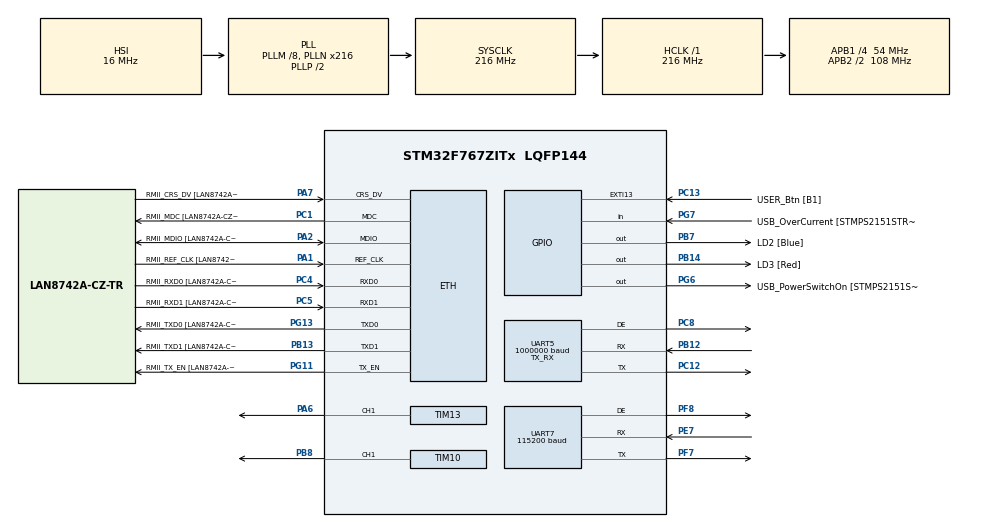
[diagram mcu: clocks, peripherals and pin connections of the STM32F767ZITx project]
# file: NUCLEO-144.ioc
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ETH.AutoNegotiation=ETH_AUTONEGOTIATION_DISABLE
ETH.MediaInterface=ETH_MEDIA_INTERFACE_RMII
ETH.PHY_Name=LAN8742A_PHY_ADDRESS
ETH.PHY_Value=0
ETH.PhyAddress=0
LWIP.CHECKSUM_BY_HARDWARE=1
LWIP.CHECKSUM_CHECK_UDP=0
LWIP.CHECKSUM_GEN_UDP=0
LWIP.IP_ADDRESS=192.168.001.040
LWIP.LWIP_DHCP=0
LWIP.LWIP_TCP=0
LWIP.LWIP_UDP=1
LWIP.NETMASK_ADDRESS=255.255.255.000
LWIP.Version=v2.0.3_Cube
Mcu.Family=STM32F7
Mcu.Name=STM32F767ZITx
Mcu.Package=LQFP144
NVIC.EXTI15_10_IRQn=true\:0\:0\:false\:false\:true\:true
NVIC.PriorityGroup=NVIC_PRIORITYGROUP_4
NVIC.UART5_IRQn=true\:0\:0\:false\:false\:true\:true
NVIC.UART7_IRQn=true\:0\:0\:false\:false\:true\:true
PA1.GPIO_Label=RMII_REF_CLK [LAN8742A-CZ-TR_REFCLK0]
PA1.GPIO_PuPd=GPIO_PULLUP
PA1.Mode=RMII
PA1.Signal=ETH_REF_CLK
PA13.GPIO_Label=TMS
PA13.Mode=Serial_Wire
PA13.Signal=SYS_JTMS-SWDIO
PA14.GPIO_Label=TCK
PA14.Mode=Serial_Wire
PA14.Signal=SYS_JTCK-SWCLK
PA2.GPIO_Label=RMII_MDIO [LAN8742A-CZ-TR_MDIO]
PA2.GPIO_PuPd=GPIO_PULLUP
PA2.Mode=RMII
PA2.Signal=ETH_MDIO
PA6.GPIO_Speed=GPIO_SPEED_FREQ_VERY_HIGH
PA6.Signal=S_TIM13_CH1
PA7.GPIO_Label=RMII_CRS_DV [LAN8742A-CZ-TR_CRS_DV]
PA7.GPIO_PuPd=GPIO_PULLUP
PA7.Mode=RMII
PA7.Signal=ETH_CRS_DV
PB12.Mode=Asynchronous
PB12.Signal=UART5_RX
PB13.GPIO_Label=RMII_TXD1 [LAN8742A-CZ-TR_TXD1]
PB13.Mode=RMII
PB13.Signal=ETH_TXD1
PB14.GPIO_Label=LD3 [Red]
PB14.Signal=GPIO_Output
PB3.GPIO_Label=SWO
PB3.Signal=SYS_JTDO-SWO
PB7.GPIO_Label=LD2 [Blue]
PB7.Signal=GPIO_Output
PB8.GPIO_Speed=GPIO_SPEED_FREQ_VERY_HIGH
PB8.Signal=S_TIM10_CH1
PC1.GPIO_Label=RMII_MDC [LAN8742A-CZ-TR_MDC]
PC1.Mode=RMII
PC1.Signal=ETH_MDC
PC12.Mode=Asynchronous
PC12.Signal=UART5_TX
PC13.GPIO_Label=USER_Btn [B1]
PC13.Signal=GPXTI13
PC14/OSC32_IN.Mode=LSE-External-Oscillator
PC14/OSC32_IN.Signal=RCC_OSC32_IN
PC15/OSC32_OUT.Mode=LSE-External-Oscillator
PC15/OSC32_OUT.Signal=RCC_OSC32_OUT
PC4.GPIO_Label=RMII_RXD0 [LAN8742A-CZ-TR_RXD0]
PC4.Mode=RMII
PC4.Signal=ETH_RXD0
PC5.GPIO_Label=RMII_RXD1 [LAN8742A-CZ-TR_RXD1]
PC5.Mode=RMII
PC5.Signal=ETH_RXD1
PC8.Mode=Hardware Flow Control (RS485)
PC8.Signal=UART5_DE
PE7.Mode=Asynchronous
PE7.Signal=UART7_RX
PF7.Mode=Asynchronous
PF7.Signal=UART7_TX
PF8.Mode=Hardware Flow Control (RS485)
PF8.Signal=UART7_DE
PG11.GPIO_Label=RMII_TX_EN [LAN8742A-CZ-TR_TXEN]
PG11.GPIO_PuPd=GPIO_PULLUP
PG11.Mode=RMII
PG11.Signal=ETH_TX_EN
PG13.GPIO_Label=RMII_TXD0 [LAN8742A-CZ-TR_TXD0]
PG13.GPIO_PuPd=GPIO_PULLUP
PG13.Mode=RMII
PG13.Signal=ETH_TXD0
PG6.GPIO_Label=USB_PowerSwitchOn [STMPS2151STR_EN]
PG6.Signal=GPIO_Output
PG7.GPIO_Label=USB_OverCurrent [STMPS2151STR_FAULT]
PG7.Signal=GPIO_Input
PH0/OSC_IN.GPIO_Label=MCO [STM32F103CBT6_PA8]
PH0/OSC_IN.Mode=HSE-External-Clock-Source
PH0/OSC_IN.Signal=RCC_OSC_IN
PH1/OSC_OUT.Mode=HSE-External-Clock-Source
PH1/OSC_OUT.Signal=RCC_OSC_OUT
ProjectManager.HeapSize=0x200
ProjectManager.StackSize=0x400
ProjectManager.TargetToolchain=SW4STM32
RCC.48MHZClocksFreq_Value=24000000
RCC.AHBFreq_Value=216000000
RCC.APB1CLKDivider=RCC_HCLK_DIV4
RCC.APB1Freq_Value=54000000
RCC.APB1TimFreq_Value=108000000
RCC.APB2CLKDivider=RCC_HCLK_DIV2
RCC.APB2Freq_Value=108000000
RCC.APB2TimFreq_Value=216000000
RCC.CortexFreq_Value=216000000
RCC.HCLKFreq_Value=216000000
RCC.HSE_VALUE=16000000
RCC.HSI_VALUE=16000000
RCC.PLLM=8
RCC.PLLMUL=RCC_PLL_MUL9
RCC.PLLN=216
RCC.PLLQ=9
RCC.PRESCALERUSB=RCC_USBCLKSOURCE_PLL_DIV1_5
RCC.SYSCLKFreq_VALUE=216000000
RCC.SYSCLKSource=RCC_SYSCLKSOURCE_PLLCLK
RCC.SYSCLKSourceVirtual=RCC_SYSCLKSOURCE_PLLCLK
RCC.USBFreq_Value=48000000
RCC.VCOOutputFreq_Value=432000000
SH.S_TIM10_CH1.0=TIM10_CH1,PWM Generation1 CH1
SH.S_TIM13_CH1.0=TIM13_CH1,PWM Generation1 CH1
TIM10.Channel=TIM_CHANNEL_1
TIM10.Period=2000-1
TIM10.Prescaler=2160-1
TIM13.Channel=TIM_CHANNEL_1
TIM13.Period=2000-1
TIM13.Prescaler=1080-1
UART5.BaudRate=1000000
UART5.DMADisableonRxErrorParam=UART_ADVFEATURE_DMA_DISABLEONRXERROR
UART5.Mode=MODE_TX_RX
UART5.OverrunDisableParam=UART_ADVFEATURE_OVERRUN_DISABLE
UART7.BaudRate=115200
UART7.DMADisableonRxErrorParam=UART_ADVFEATURE_DMA_DISABLEONRXERROR
UART7.OverrunDisableParam=UART_ADVFEATURE_OVERRUN_DISABLE
VP_LWIP_VS_Enabled.Mode=Enabled
VP_TIM10_VS_ClockSourceINT.Mode=Enable_Timer
VP_TIM13_VS_ClockSourceINT.Mode=Enable_Timer
board=NUCLEO-F767ZI

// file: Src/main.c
/**
  ******************************************************************************
  * @file           : main.c
  * @brief          : Main program body
  ******************************************************************************
  * This notice applies to any and all portions of this file
  * that are not between comment pairs USER CODE BEGIN and
  * USER CODE END. Other portions of this file, whether
  * inserted by the user or by software development tools
  * are owned by their respective copyright owners.
  *
  * Copyright (c) 2019 STMicroelectronics International N.V.
  * All rights reserved.
  *
  * Redistribution and use in source and binary forms, with or without
  * modification, are permitted, provided that the following conditions are met:
  *
  * 1. Redistribution of source code must retain the above copyright notice,
  *    this list of conditions and the following disclaimer.
  * 2. Redistributions in binary form must reproduce the above copyright notice,
  *    this list of conditions and the following disclaimer in the documentation
  *    and/or other materials provided with the distribution.
  * 3. Neither the name of STMicroelectronics nor the names of other
  *    contributors to this software may be used to endorse or promote products
  *    derived from this software without specific written permission.
  * 4. This software, including modifications and/or derivative works of this
  *    software, must execute solely and exclusively on microcontroller or
  *    microprocessor devices manufactured by or for STMicroelectronics.
  * 5. Redistribution and use of this software other than as permitted under
  *    this license is void and will automatically terminate your rights under
  *    this license.
  *
  * THIS SOFTWARE IS PROVIDED BY STMICROELECTRONICS AND CONTRIBUTORS "AS IS"
  * AND ANY EXPRESS, IMPLIED OR STATUTORY WARRANTIES, INCLUDING, BUT NOT
  * LIMITED TO, THE IMPLIED WARRANTIES OF MERCHANTABILITY, FITNESS FOR A
  * PARTICULAR PURPOSE AND NON-INFRINGEMENT OF THIRD PARTY INTELLECTUAL PROPERTY
  * RIGHTS ARE DISCLAIMED TO THE FULLEST EXTENT PERMITTED BY LAW. IN NO EVENT
  * SHALL STMICROELECTRONICS OR CONTRIBUTORS BE LIABLE FOR ANY DIRECT, INDIRECT,
  * INCIDENTAL, SPECIAL, EXEMPLARY, OR CONSEQUENTIAL DAMAGES (INCLUDING, BUT NOT
  * LIMITED TO, PROCUREMENT OF SUBSTITUTE GOODS OR SERVICES; LOSS OF USE, DATA,
  * OR PROFITS; OR BUSINESS INTERRUPTION) HOWEVER CAUSED AND ON ANY THEORY OF
  * LIABILITY, WHETHER IN CONTRACT, STRICT LIABILITY, OR TORT (INCLUDING
  * NEGLIGENCE OR OTHERWISE) ARISING IN ANY WAY OUT OF THE USE OF THIS SOFTWARE,
  * EVEN IF ADVISED OF THE POSSIBILITY OF SUCH DAMAGE.
  *
  ******************************************************************************
  */
#include "main.h"
#include "stm32f7xx_hal.h"
#include "lwip.h"

/* USER CODE BEGIN Includes */

#include <stdbool.h>
#include <math.h>

#include "dwt_stm32_delay.h"
#include "udp_client.h"
#include "gl_svg.h"
#include "dynamixel_protocol_v2.h"

/* USER CODE END Includes */

TIM_HandleTypeDef htim10;
TIM_HandleTypeDef htim13;

UART_HandleTypeDef huart5;
UART_HandleTypeDef huart7;

/* USER CODE BEGIN PV */

#define TORQUE_CONTROL 0

extern uint32_t dynamixel_comm_err_count1;
extern uint32_t dynamixel_comm_err_count2;
volatile uint8_t system_task = 0;

/* Private variables ---------------------------------------------------------*/

/* USER CODE END PV */

void SystemClock_Config(void);
static void MX_GPIO_Init(void);
static void MX_UART7_Init(void);
static void MX_UART5_Init(void);
static void MX_TIM13_Init(void);
static void MX_TIM10_Init(void);

void HAL_TIM_MspPostInit(TIM_HandleTypeDef *htim);

/* USER CODE BEGIN PFP */
/* Private function prototypes -----------------------------------------------*/

/* USER CODE END PFP */

/* USER CODE BEGIN 0 */
void user_pwm_setvalue(uint16_t value) {
  TIM_OC_InitTypeDef sConfigOC;
  sConfigOC.OCMode = TIM_OCMODE_PWM1;
  sConfigOC.Pulse = value;
  sConfigOC.OCPolarity = TIM_OCPOLARITY_HIGH;
  sConfigOC.OCFastMode = TIM_OCFAST_DISABLE;
  HAL_TIM_PWM_ConfigChannel(&htim13, &sConfigOC, TIM_CHANNEL_1);
  HAL_TIM_PWM_Start(&htim13, TIM_CHANNEL_1);
}

/* USER CODE END 0 */

int main(void)
{

  /* MCU Configuration----------------------------------------------------------*/

  /* Reset of all peripherals, Initializes the Flash interface and the Systick. */
  HAL_Init();

  /* Configure the system clock */
  SystemClock_Config();

  /* USER CODE BEGIN SysInit */

  if (DWT_Delay_Init() != HAL_OK)
    _Error_Handler(__FILE__, __LINE__);

  /* USER CODE END SysInit */

  /* Initialize all configured peripherals */
  MX_GPIO_Init();
  MX_LWIP_Init();
  MX_UART7_Init();
  MX_UART5_Init();
  MX_TIM13_Init();
  MX_TIM10_Init();
  /* USER CODE BEGIN 2 */

  HAL_TIM_PWM_Start(&htim13, TIM_CHANNEL_1);
  HAL_TIM_PWM_Start(&htim10, TIM_CHANNEL_1);

  uint16_t pwm_value1 = 0, pwm_value2 = 0;
  user_pwm_setvalue(pwm_value1);
  user_pwm_setvalue(pwm_value2);

  udp_client_connect();
  GLVG_init(&huart7);

  const uint8_t dynamixel1_id = 1;
  const uint8_t dynamixel2_id = 2;
  dynamixel_bind_uart(&huart5, 1000000L);

  /* USER CODE END 2 */

  /* Infinite loop */
  /* USER CODE BEGIN WHILE */

  float current1 = 0, velocity1 = 0, position1 = 0, start_position1 = 0;
  float current2 = 0, velocity2 = 0, position2 = 0, start_position2 = 0;

  float qa_prev = 0, qa_goal = 0;

  float angle_filtered = 0;
  int16_t pwm = 0;

  uint32_t time_start = DWT_us();
  uint32_t time_prev = DWT_us();

#if TORQUE_CONTROL
  float goal_current1 = 0.f;
  float goal_current2 = 0.f;
#else
  float goal_velocity1 = 0.f;
  float goal_velocity2 = 0.f;
#endif
  uint8_t read_send = 0;
  uint8_t need_to_rewind = 1;

/*
  __HAL_TIM_SET_COMPARE(&htim13, TIM_CHANNEL_1, 255);
  HAL_Delay(10000);
  __HAL_TIM_SET_COMPARE(&htim13, TIM_CHANNEL_1, 64);
  HAL_Delay(30000);
*/

  while (1) {

	  /*
	  if (time_prev-time_start>1L*1000L*1000L) {
		   system_task = 9;
	  }
	  */

	  MX_LWIP_Process();
	  uint32_t time = DWT_us();
	  if (time-time_prev>5000L) {
		  time_prev = time;
		  read_send = 1-read_send;

		  if (0==system_task) {
			  angle_filtered = -.73;

			  pwm_value1 = pwm_value2 = 0;
			  __HAL_TIM_SET_COMPARE(&htim10, TIM_CHANNEL_1, pwm_value1);
			  __HAL_TIM_SET_COMPARE(&htim13, TIM_CHANNEL_1, pwm_value2);
			  need_to_rewind = 1;

			  HAL_Delay(50);
			  dynamixel_torque_on_off(dynamixel1_id, 0);
			  HAL_Delay(50);
			  dynamixel_torque_on_off(dynamixel2_id, 0);
			  HAL_Delay(50);
#if TORQUE_CONTROL
			  dynamixel_set_operating_mode(dynamixel1_id, 0);
			  HAL_Delay(50);
			  dynamixel_set_operating_mode(dynamixel2_id, 0);
#else
			  dynamixel_set_operating_mode(dynamixel1_id, 1);
			  HAL_Delay(50);
			  dynamixel_set_operating_mode(dynamixel2_id, 1);
#endif
			  HAL_Delay(50);
			  dynamixel_torque_on_off(dynamixel1_id, 1);
			  HAL_Delay(50);
			  dynamixel_torque_on_off(dynamixel2_id, 1);
			  HAL_Delay(50);

			  while (!dynamixel_read_current_velocity_position(dynamixel1_id, &pwm, &current1, &velocity1, &start_position1));
			  position1 = start_position1;
			  HAL_Delay(50);
			  while (!dynamixel_read_current_velocity_position(dynamixel2_id, &pwm, &current2, &velocity2, &start_position2));
			  position2 = start_position2;

			  for (uint8_t i=0; i<115; i++) {
				  pwm_value1 = i;
				  if (i<113)
					  pwm_value2 = i;

				  __HAL_TIM_SET_COMPARE(&htim10, TIM_CHANNEL_1, pwm_value1);
				  __HAL_TIM_SET_COMPARE(&htim13, TIM_CHANNEL_1, pwm_value2);
				  HAL_Delay(10);
			  }

			  qa_prev = qa_goal = -GLVG_getYaw()*M_PI/180.;

			  time_start = DWT_us();
			  system_task = 1;

			  continue;
		  }

		  if (read_send && 9==system_task) {
			  if (need_to_rewind) {
				  dynamixel_torque_on_off(dynamixel1_id, 0);
				  HAL_Delay(50);
				  dynamixel_torque_on_off(dynamixel2_id, 0);
				  HAL_Delay(50);
				  dynamixel_set_operating_mode(dynamixel1_id, 3);
				  HAL_Delay(50);
				  dynamixel_set_operating_mode(dynamixel2_id, 3);
				  HAL_Delay(50);
				  dynamixel_set_profile_velocity(dynamixel1_id, 32);
				  HAL_Delay(50);
				  dynamixel_set_profile_velocity(dynamixel2_id, 32);
				  HAL_Delay(50);
				  dynamixel_torque_on_off(dynamixel1_id, 1);
				  HAL_Delay(50);
				  dynamixel_torque_on_off(dynamixel2_id, 1);
				  HAL_Delay(50);
				  dynamixel_set_position(dynamixel1_id, start_position1);
				  HAL_Delay(50);
				  dynamixel_set_position(dynamixel2_id, start_position2);
				  HAL_Delay(5000);
				  need_to_rewind = 0;
			  }
			  dynamixel_torque_on_off(dynamixel1_id, 0);
			  HAL_Delay(50);
			  dynamixel_torque_on_off(dynamixel2_id, 0);
		  }

		  if (read_send && 1==system_task) {
#if TORQUE_CONTROL
			  dynamixel_set_current(dynamixel1_id, -goal_current1); // note that the dynamixel basis is inversed w.r.t the paper
			  dynamixel_set_current(dynamixel2_id, -goal_current2); // note that the dynamixel basis is inversed w.r.t the paper
#else
			  dynamixel_set_velocity(dynamixel1_id, -goal_velocity1); // note that the dynamixel basis is inversed w.r.t the paper
			  dynamixel_set_velocity(dynamixel2_id, -goal_velocity2); // note that the dynamixel basis is inversed w.r.t the paper
#endif
		  }

		  if (!read_send) {
			  bool res1 = dynamixel_read_current_velocity_position(dynamixel1_id, &pwm, &current1, &velocity1, &position1);
			  if (!res1) {
				  dynamixel_comm_err_count1++;
			  } else {
				  current1 = -current1; // inversed basis
				  velocity1 = -velocity1;
			  }
			  bool res2 = dynamixel_read_current_velocity_position(dynamixel2_id, &pwm, &current2, &velocity2, &position2);
			  if (!res2) {
				  dynamixel_comm_err_count2++;
			  } else {
				  current2 = -current2; // inversed basis
				  velocity2 = -velocity2;
			  }

			  float qa = -GLVG_getYaw()*M_PI/180.;
			  if (qa>qa_prev+5.) qa -= 2.*M_PI;
			  if (qa<qa_prev-5.) qa += 2.*M_PI;
			  qa_prev = qa;

			  float wa = -GLVG_getGy()*M_PI/180.;

			  float qb = (90 - GLVG_getRoll())*M_PI/180.;
			  float wb = -GLVG_getGx()*M_PI/180.;
			  float qc1 = M_PI/2. - (position1-start_position1);
			  float wc1 = velocity1;
			  float qc2 = M_PI/2. - (position2-start_position2);
			  float wc2 = velocity2;

		      if (fabs(qb+M_PI/4.)<.2) {
		    	  angle_filtered = .996*angle_filtered + .004*qb;
		      }

			  if (1==system_task && ( fabs(qc1-M_PI/2.)>1.5*3.14/4. || fabs(qc2-M_PI/2.)>1.5*3.14/4. )) system_task = 9;

#if TORQUE_CONTROL
			  float K1[] = {-1.43910573e-01,-4.77325439e-02,5.55964166e+00,7.24108243e-01,-1.46748079e-03,2.38036156e-01,7.05639301e-01,-1.16024017e-02};
			  float K2[] = {-1.43910170e-01,-4.67773438e-02,-5.55964166e+00,-7.24108243e-01,7.05639309e-01,-1.15814209e-02,-1.46747157e-03,2.38064575e-01};

		      float tau1 = -(K1[0]*(qa-qa_goal) + K1[1]*wa + K1[2]*(qb + .73 /* M_PI/4. */) + K1[3]*wb + K1[4]*(qc1 - M_PI/2.) + K1[5]*wc1 + K1[6]*(qc2 - M_PI/2.) + K1[7]*wc2);
		      float tau2 = -(K2[0]*(qa-qa_goal) + K2[1]*wa + K2[2]*(qb + .73 /* M_PI/4. */) + K2[3]*wb + K2[4]*(qc1 - M_PI/2.) + K2[5]*wc1 + K2[6]*(qc2 - M_PI/2.) + K2[7]*wc2);

			  float k1 = 1.62;
			  float k2 = 1.46;
		      goal_current1 = tau1 / k1;
		      goal_current2 = tau2 / k2;

		      if (goal_current1 >  4) goal_current1 =  4;
		      if (goal_current1 < -4) goal_current1 = -4;
		      if (goal_current2 >  4) goal_current2 =  4;
		      if (goal_current2 < -4) goal_current2 = -4;

		      if (fabs(qb+M_PI/4.)>.2) {
		    	  goal_current1 = 0;
		    	  goal_current2 = 0;
		      }
			  char msg[255] = {0};
			  sprintf(msg,"%3.6f, %3.6f, %3.6f, %3.6f, %3.6f, %3.6f, %3.6f, %3.6f, %3.6f, %3.6f, %3.6f,                %d, %lu", (float)(time-time_start)*1e-6, goal_current1, goal_current2, qa-qa_goal, wa, qb, wb, qc1, wc1, qc2, wc2, system_task, dynamixel_comm_err_count1);
#else
			  float K1[] = { 16.175,  2.418, 0., 1.};
			  float K2[] = {-16.175, -2.418, 1., 0.};
		      goal_velocity1 = -(K1[0]*(qb - angle_filtered) + K1[1]*wb + K1[2]*(qc1 - M_PI/2.)+ K1[3]*(qc2 - M_PI/2.));
		      goal_velocity2 = -(K2[0]*(qb - angle_filtered) + K2[1]*wb + K2[2]*(qc1 - M_PI/2.)+ K2[3]*(qc2 - M_PI/2.));

		      if (goal_velocity1 >  4) goal_velocity1 =  4;
		      if (goal_velocity1 < -4) goal_velocity1 = -4;
		      if (goal_velocity2 >  4) goal_velocity2 =  4;
		      if (goal_velocity2 < -4) goal_velocity2 = -4;

		      if (fabs(qb+M_PI/4.)>.2) {
		    	  goal_velocity2 = goal_velocity1 = 0;
		      }

			  char msg[255] = {0};
			  sprintf(msg,"%3.6f,\t %3.6f,\t %3.6f,\t %3.6f,\t %3.6f,\t %3.6f,\t %3.6f, %lu, %lu", (float)(time-time_start)*1e-6, qb, wb, qc1, wc1, qc2, wc2, dynamixel_comm_err_count1, dynamixel_comm_err_count2);
#endif
			  udp_client_send(msg);
		  }
	  }
  }
  /* USER CODE END WHILE */

}

void SystemClock_Config(void)
{

  RCC_OscInitTypeDef RCC_OscInitStruct;
  RCC_ClkInitTypeDef RCC_ClkInitStruct;
  RCC_PeriphCLKInitTypeDef PeriphClkInitStruct;

    /**Configure the main internal regulator output voltage
    */
  __HAL_RCC_PWR_CLK_ENABLE();

  __HAL_PWR_VOLTAGESCALING_CONFIG(PWR_REGULATOR_VOLTAGE_SCALE1);

    /**Initializes the CPU, AHB and APB busses clocks
    */
  RCC_OscInitStruct.OscillatorType = RCC_OSCILLATORTYPE_HSI;
  RCC_OscInitStruct.HSIState = RCC_HSI_ON;
  RCC_OscInitStruct.HSICalibrationValue = 16;
  RCC_OscInitStruct.PLL.PLLState = RCC_PLL_ON;
  RCC_OscInitStruct.PLL.PLLSource = RCC_PLLSOURCE_HSI;
  RCC_OscInitStruct.PLL.PLLM = 8;
  RCC_OscInitStruct.PLL.PLLN = 216;
  RCC_OscInitStruct.PLL.PLLP = RCC_PLLP_DIV2;
  RCC_OscInitStruct.PLL.PLLQ = 9;
  if (HAL_RCC_OscConfig(&RCC_OscInitStruct) != HAL_OK)
  {
    _Error_Handler(__FILE__, __LINE__);
  }

    /**Activate the Over-Drive mode
    */
  if (HAL_PWREx_EnableOverDrive() != HAL_OK)
  {
    _Error_Handler(__FILE__, __LINE__);
  }

    /**Initializes the CPU, AHB and APB busses clocks
    */
  RCC_ClkInitStruct.ClockType = RCC_CLOCKTYPE_HCLK|RCC_CLOCKTYPE_SYSCLK
                              |RCC_CLOCKTYPE_PCLK1|RCC_CLOCKTYPE_PCLK2;
  RCC_ClkInitStruct.SYSCLKSource = RCC_SYSCLKSOURCE_PLLCLK;
  RCC_ClkInitStruct.AHBCLKDivider = RCC_SYSCLK_DIV1;
  RCC_ClkInitStruct.APB1CLKDivider = RCC_HCLK_DIV4;
  RCC_ClkInitStruct.APB2CLKDivider = RCC_HCLK_DIV2;

  if (HAL_RCC_ClockConfig(&RCC_ClkInitStruct, FLASH_LATENCY_7) != HAL_OK)
  {
    _Error_Handler(__FILE__, __LINE__);
  }

  PeriphClkInitStruct.PeriphClockSelection = RCC_PERIPHCLK_UART5|RCC_PERIPHCLK_UART7;
  PeriphClkInitStruct.Uart5ClockSelection = RCC_UART5CLKSOURCE_PCLK1;
  PeriphClkInitStruct.Uart7ClockSelection = RCC_UART7CLKSOURCE_PCLK1;
  if (HAL_RCCEx_PeriphCLKConfig(&PeriphClkInitStruct) != HAL_OK)
  {
    _Error_Handler(__FILE__, __LINE__);
  }

    /**Configure the Systick interrupt time
    */
  HAL_SYSTICK_Config(HAL_RCC_GetHCLKFreq()/1000);

    /**Configure the Systick
    */
  HAL_SYSTICK_CLKSourceConfig(SYSTICK_CLKSOURCE_HCLK);

  /* SysTick_IRQn interrupt configuration */
  HAL_NVIC_SetPriority(SysTick_IRQn, 0, 0);
}

/* TIM10 init function */
static void MX_TIM10_Init(void)
{

  TIM_OC_InitTypeDef sConfigOC;

  htim10.Instance = TIM10;
  htim10.Init.Prescaler = 2160-1;
  htim10.Init.CounterMode = TIM_COUNTERMODE_UP;
  htim10.Init.Period = 2000-1;
  htim10.Init.ClockDivision = TIM_CLOCKDIVISION_DIV1;
  htim10.Init.AutoReloadPreload = TIM_AUTORELOAD_PRELOAD_DISABLE;
  if (HAL_TIM_Base_Init(&htim10) != HAL_OK)
  {
    _Error_Handler(__FILE__, __LINE__);
  }

  if (HAL_TIM_PWM_Init(&htim10) != HAL_OK)
  {
    _Error_Handler(__FILE__, __LINE__);
  }

  sConfigOC.OCMode = TIM_OCMODE_PWM1;
  sConfigOC.Pulse = 0;
  sConfigOC.OCPolarity = TIM_OCPOLARITY_HIGH;
  sConfigOC.OCFastMode = TIM_OCFAST_DISABLE;
  if (HAL_TIM_PWM_ConfigChannel(&htim10, &sConfigOC, TIM_CHANNEL_1) != HAL_OK)
  {
    _Error_Handler(__FILE__, __LINE__);
  }

  HAL_TIM_MspPostInit(&htim10);

}

/* TIM13 init function */
static void MX_TIM13_Init(void)
{

  TIM_OC_InitTypeDef sConfigOC;

  htim13.Instance = TIM13;
  htim13.Init.Prescaler = 1080-1;
  htim13.Init.CounterMode = TIM_COUNTERMODE_UP;
  htim13.Init.Period = 2000-1;
  htim13.Init.ClockDivision = TIM_CLOCKDIVISION_DIV1;
  htim13.Init.AutoReloadPreload = TIM_AUTORELOAD_PRELOAD_DISABLE;
  if (HAL_TIM_Base_Init(&htim13) != HAL_OK)
  {
    _Error_Handler(__FILE__, __LINE__);
  }

  if (HAL_TIM_PWM_Init(&htim13) != HAL_OK)
  {
    _Error_Handler(__FILE__, __LINE__);
  }

  sConfigOC.OCMode = TIM_OCMODE_PWM1;
  sConfigOC.Pulse = 0;
  sConfigOC.OCPolarity = TIM_OCPOLARITY_HIGH;
  sConfigOC.OCFastMode = TIM_OCFAST_DISABLE;
  if (HAL_TIM_PWM_ConfigChannel(&htim13, &sConfigOC, TIM_CHANNEL_1) != HAL_OK)
  {
    _Error_Handler(__FILE__, __LINE__);
  }

  HAL_TIM_MspPostInit(&htim13);

}

/* UART5 init function */
static void MX_UART5_Init(void)
{

  huart5.Instance = UART5;
  huart5.Init.BaudRate = 1000000;
  huart5.Init.WordLength = UART_WORDLENGTH_8B;
  huart5.Init.StopBits = UART_STOPBITS_1;
  huart5.Init.Parity = UART_PARITY_NONE;
  huart5.Init.Mode = UART_MODE_TX_RX;
  huart5.Init.HwFlowCtl = UART_HWCONTROL_NONE;
  huart5.Init.OverSampling = UART_OVERSAMPLING_16;
  huart5.Init.OneBitSampling = UART_ONE_BIT_SAMPLE_DISABLE;
  huart5.AdvancedInit.AdvFeatureInit = UART_ADVFEATURE_RXOVERRUNDISABLE_INIT|UART_ADVFEATURE_DMADISABLEONERROR_INIT;
  huart5.AdvancedInit.OverrunDisable = UART_ADVFEATURE_OVERRUN_DISABLE;
  huart5.AdvancedInit.DMADisableonRxError = UART_ADVFEATURE_DMA_DISABLEONRXERROR;
  if (HAL_RS485Ex_Init(&huart5, UART_DE_POLARITY_HIGH, 0, 0) != HAL_OK)
  {
    _Error_Handler(__FILE__, __LINE__);
  }

}

/* UART7 init function */
static void MX_UART7_Init(void)
{

  huart7.Instance = UART7;
  huart7.Init.BaudRate = 115200;
  huart7.Init.WordLength = UART_WORDLENGTH_8B;
  huart7.Init.StopBits = UART_STOPBITS_1;
  huart7.Init.Parity = UART_PARITY_NONE;
  huart7.Init.Mode = UART_MODE_TX_RX;
  huart7.Init.HwFlowCtl = UART_HWCONTROL_NONE;
  huart7.Init.OverSampling = UART_OVERSAMPLING_16;
  huart7.Init.OneBitSampling = UART_ONE_BIT_SAMPLE_DISABLE;
  huart7.AdvancedInit.AdvFeatureInit = UART_ADVFEATURE_RXOVERRUNDISABLE_INIT|UART_ADVFEATURE_DMADISABLEONERROR_INIT;
  huart7.AdvancedInit.OverrunDisable = UART_ADVFEATURE_OVERRUN_DISABLE;
  huart7.AdvancedInit.DMADisableonRxError = UART_ADVFEATURE_DMA_DISABLEONRXERROR;
  if (HAL_RS485Ex_Init(&huart7, UART_DE_POLARITY_HIGH, 0, 0) != HAL_OK)
  {
    _Error_Handler(__FILE__, __LINE__);
  }

}

/** Configure pins as
        * Analog
        * Input
        * Output
        * EVENT_OUT
        * EXTI
*/
static void MX_GPIO_Init(void)
{

  GPIO_InitTypeDef GPIO_InitStruct;

  /* GPIO Ports Clock Enable */
  __HAL_RCC_GPIOC_CLK_ENABLE();
  __HAL_RCC_GPIOF_CLK_ENABLE();
  __HAL_RCC_GPIOH_CLK_ENABLE();
  __HAL_RCC_GPIOA_CLK_ENABLE();
  __HAL_RCC_GPIOE_CLK_ENABLE();
  __HAL_RCC_GPIOB_CLK_ENABLE();
  __HAL_RCC_GPIOG_CLK_ENABLE();

  /*Configure GPIO pin Output Level */
  HAL_GPIO_WritePin(GPIOB, LD3_Pin|LD2_Pin, GPIO_PIN_RESET);

  /*Configure GPIO pin Output Level */
  HAL_GPIO_WritePin(USB_PowerSwitchOn_GPIO_Port, USB_PowerSwitchOn_Pin, GPIO_PIN_RESET);

  /*Configure GPIO pin : USER_Btn_Pin */
  GPIO_InitStruct.Pin = USER_Btn_Pin;
  GPIO_InitStruct.Mode = GPIO_MODE_IT_RISING;
  GPIO_InitStruct.Pull = GPIO_NOPULL;
  HAL_GPIO_Init(USER_Btn_GPIO_Port, &GPIO_InitStruct);

  /*Configure GPIO pins : LD3_Pin LD2_Pin */
  GPIO_InitStruct.Pin = LD3_Pin|LD2_Pin;
  GPIO_InitStruct.Mode = GPIO_MODE_OUTPUT_PP;
  GPIO_InitStruct.Pull = GPIO_NOPULL;
  GPIO_InitStruct.Speed = GPIO_SPEED_FREQ_LOW;
  HAL_GPIO_Init(GPIOB, &GPIO_InitStruct);

  /*Configure GPIO pin : USB_PowerSwitchOn_Pin */
  GPIO_InitStruct.Pin = USB_PowerSwitchOn_Pin;
  GPIO_InitStruct.Mode = GPIO_MODE_OUTPUT_PP;
  GPIO_InitStruct.Pull = GPIO_NOPULL;
  GPIO_InitStruct.Speed = GPIO_SPEED_FREQ_LOW;
  HAL_GPIO_Init(USB_PowerSwitchOn_GPIO_Port, &GPIO_InitStruct);

  /*Configure GPIO pin : USB_OverCurrent_Pin */
  GPIO_InitStruct.Pin = USB_OverCurrent_Pin;
  GPIO_InitStruct.Mode = GPIO_MODE_INPUT;
  GPIO_InitStruct.Pull = GPIO_NOPULL;
  HAL_GPIO_Init(USB_OverCurrent_GPIO_Port, &GPIO_InitStruct);

  /* EXTI interrupt init*/
  HAL_NVIC_SetPriority(EXTI15_10_IRQn, 0, 0);
  HAL_NVIC_EnableIRQ(EXTI15_10_IRQn);

}

void _Error_Handler(char *file, int line)
{
  while(1)
  {
  }
}

/************************ (C) COPYRIGHT STMicroelectronics *****END OF FILE****/
